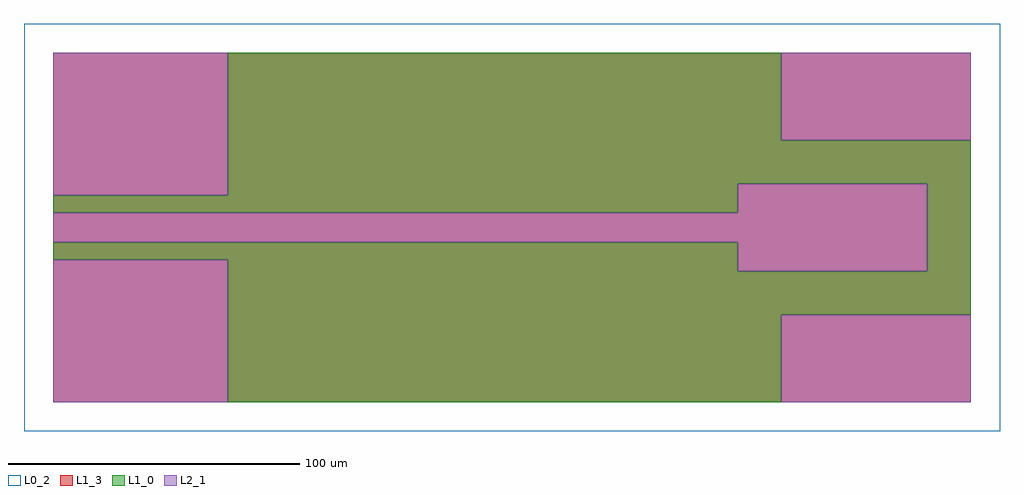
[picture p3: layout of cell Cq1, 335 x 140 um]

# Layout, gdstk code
import gdstk
lib = gdstk.Library(unit=1e-6, precision=1e-09)
def R(c, l, rs):  # rectangles x0, y0, x1, y1
    for r in rs: c.add(gdstk.rectangle(r[:2], r[2:], *l))
def P(c, l, *ps):  # polygons
    for p in ps: c.add(gdstk.Polygon(p, *l))
L0_2 = (0, 2)
L1_0 = (1, 0)
L1_3 = (1, 3)
L2_1 = (2, 1)

cq1 = lib.new_cell('Cq1')
R(cq1, L0_2, [(-167.5,-70,167.5,70)])
P(cq1, L1_0, [(-97.5,-60),(-97.5,-11),(-157.5,-11),(-157.5,-5),(77.5,-5),(77.5,-15),(142.5,-15),(142.5,15),(77.5,15),(77.5,5),(-157.5,5),(-157.5,11),(-97.5,11),(-97.5,60),(92.5,60),(92.5,30),(157.5,30),(157.5,-30),(92.5,-30),(92.5,-60)])
R(cq1, L1_3, [(-157.5,-60,157.5,60)])
R(cq1, L2_1, [(-157.5,-60,-97.5,-11), (92.5,-60,157.5,-30), (-157.5,11,-97.5,60), (92.5,30,157.5,60)])
P(cq1, L2_1, [(77.5,-15),(77.5,-5),(-157.5,-5),(-157.5,5),(77.5,5),(77.5,15),(142.5,15),(142.5,-15)])

lib.write_gds('Cq1.gds')
